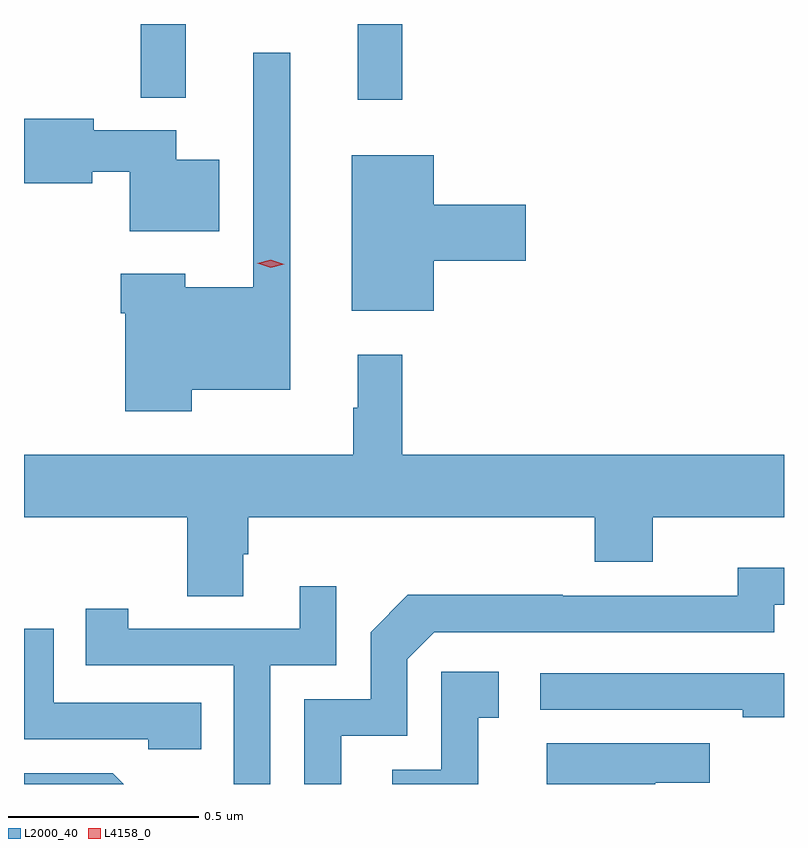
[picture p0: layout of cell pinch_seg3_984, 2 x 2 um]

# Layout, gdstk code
import gdstk
lib = gdstk.Library(unit=1e-6, precision=1e-09)
def R(c, l, rs):  # rectangles x0, y0, x1, y1
    for r in rs: c.add(gdstk.rectangle(r[:2], r[2:], *l))
def P(c, l, *ps):  # polygons
    for p in ps: c.add(gdstk.Polygon(p, *l))
L2000_40 = (2000, 40)
L4158_0 = (4158, 0)

pinch_seg3_984 = lib.new_cell('pinch_seg3_984')
R(pinch_seg3_984, L2000_40, [(438.572,728.655,438.689,728.854), (438.001,728.66,438.119,728.854)])
P(pinch_seg3_984, L2000_40, [(438.135,727.892),(438.394,727.892),(438.394,728.779),(438.297,728.779),(438.297,728.161),(438.118,728.161),(438.118,728.197),(437.948,728.197),(437.948,728.093),(437.96,728.093),(437.96,727.835),(438.135,727.835)],
  [(438.208,728.497),(438.094,728.497),(438.094,728.575),(437.878,728.575),(437.878,728.605),(437.694,728.605),(437.694,728.435),(437.874,728.435),(437.874,728.465),(437.972,728.465),(437.972,728.309),(438.208,728.309)],
  [(438.772,728.231),(439.015,728.231),(439.015,728.378),(438.772,728.378),(438.772,728.509),(438.557,728.509),(438.557,728.099),(438.772,728.099)],
  [(438.271,727.458),(438.284,727.458),(438.284,727.556),(439.196,727.556),(439.196,727.439),(439.348,727.439),(439.348,727.556),(439.694,727.556),(439.694,727.72),(438.689,727.72),(438.689,727.984),(438.572,727.984),(438.572,727.844),(438.561,727.844),(438.561,727.72),(437.694,727.72),(437.694,727.556),(438.124,727.556),(438.124,727.348),(438.271,727.348)],
  [(438.529,726.981),(438.702,726.981),(438.702,727.182),(438.774,727.254),(439.668,727.254),(439.668,727.326),(439.694,727.326),(439.694,727.423),(439.572,727.423),(439.572,727.35),(439.112,727.35),(439.112,727.352),(438.704,727.352),(438.606,727.254),(438.606,727.077),(438.432,727.077),(438.432,726.854),(438.529,726.854)],
  [(438.342,727.167),(438.516,727.167),(438.516,727.375),(438.419,727.375),(438.419,727.263),(437.968,727.263),(437.968,727.315),(437.857,727.315),(437.857,727.167),(438.246,727.167),(438.246,726.854),(438.342,726.854)],
  [(438.161,727.068),(437.772,727.068),(437.772,727.263),(437.694,727.263),(437.694,726.972),(438.021,726.972),(438.021,726.945),(438.161,726.945)],
  [(438.89,727.029),(438.943,727.029),(438.943,727.15),(438.792,727.15),(438.792,726.891),(438.663,726.891),(438.663,726.854),(438.89,726.854)],
  [(439.694,727.146),(439.053,727.146),(439.053,727.05),(439.585,727.05),(439.585,727.03),(439.694,727.03)],
  [(439.355,726.857),(439.498,726.857),(439.498,726.961),(439.07,726.961),(439.07,726.854),(439.355,726.854)],
  [(437.928,726.882),(437.694,726.882),(437.694,726.854),(437.956,726.854)])
P(pinch_seg3_984, L4158_0, [(438.343,728.213),(438.308,728.225),(438.307,728.225),(438.308,728.225),(438.343,728.233),(438.379,728.222),(438.379,728.222),(438.379,728.222)])

lib.write_gds('pinch_seg3_984.gds')
